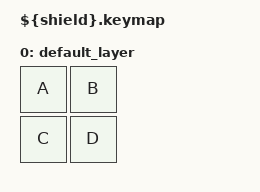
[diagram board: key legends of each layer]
// This file was generated from a template. Edit it to match your shield.
// See https://zmk.dev/docs/development/new-shield for more instructions.

#include <behaviors.dtsi>
#include <dt-bindings/zmk/keys.h>

/ {
    // Define a default keymap here.
    // See https://zmk.dev/docs/development/new-shield#default-keymap.
    keymap {
        compatible = "zmk,keymap";

        default_layer {
            bindings = <
                &kp A &kp B
                &kp C &kp D
            >;
        };
    };
};
